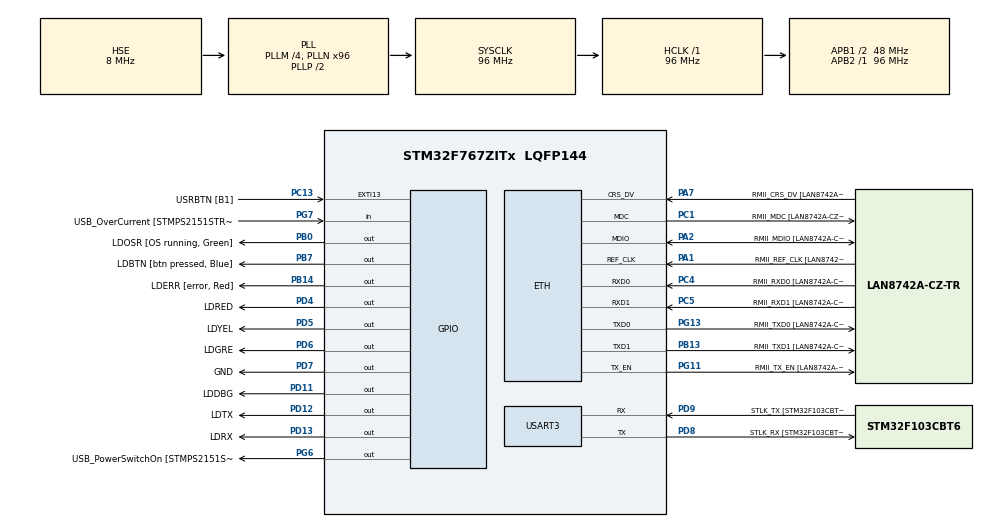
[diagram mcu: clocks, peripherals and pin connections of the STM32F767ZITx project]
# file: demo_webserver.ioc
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ETH.MediaInterface=ETH_MEDIA_INTERFACE_RMII
ETH.PHY_Name=LAN8742A_PHY_ADDRESS
ETH.PHY_Value=0
ETH.PhyAddress=0
FREERTOS.Tasks01=defaultTask,0,128,StartDefaultTask,Default,NULL
LWIP.Version=v2.0.3_Cube
Mcu.Family=STM32F7
Mcu.Name=STM32F767ZITx
Mcu.Package=LQFP144
NVIC.ETH_IRQn=true\:5\:0\:false\:false\:true\:true\:false
NVIC.EXTI15_10_IRQn=true\:5\:0\:false\:false\:true\:true\:true
NVIC.PriorityGroup=NVIC_PRIORITYGROUP_4
NVIC.TIM1_UP_TIM10_IRQn=true\:0\:0\:false\:false\:true\:false\:false
NVIC.TimeBase=TIM1_UP_TIM10_IRQn
NVIC.TimeBaseIP=TIM1
NVIC.USART3_IRQn=true\:5\:0\:false\:false\:true\:true\:true
PA1.GPIO_Label=RMII_REF_CLK [LAN8742A-CZ-TR_REFCLK0]
PA1.Mode=RMII
PA1.Signal=ETH_REF_CLK
PA10.GPIO_Label=USB_ID
PA10.Signal=USB_OTG_FS_ID
PA11.GPIO_Label=USB_DM
PA11.Signal=USB_OTG_FS_DM
PA12.GPIO_Label=USB_DP
PA12.Signal=USB_OTG_FS_DP
PA13.GPIO_Label=TMS
PA13.Mode=Serial_Wire
PA13.Signal=SYS_JTMS-SWDIO
PA14.GPIO_Label=TCK
PA14.Mode=Serial_Wire
PA14.Signal=SYS_JTCK-SWCLK
PA2.GPIO_Label=RMII_MDIO [LAN8742A-CZ-TR_MDIO]
PA2.Mode=RMII
PA2.Signal=ETH_MDIO
PA7.GPIO_Label=RMII_CRS_DV [LAN8742A-CZ-TR_CRS_DV]
PA7.Mode=RMII
PA7.Signal=ETH_CRS_DV
PA8.GPIO_Label=USB_SOF [TP1]
PA8.Signal=USB_OTG_FS_SOF
PA9.GPIO_Label=USB_VBUS
PA9.Signal=USB_OTG_FS_VBUS
PB0.GPIO_Label=LDOSR [OS running, Green]
PB0.Signal=GPIO_Output
PB13.GPIO_Label=RMII_TXD1 [LAN8742A-CZ-TR_TXD1]
PB13.Mode=RMII
PB13.Signal=ETH_TXD1
PB14.GPIO_Label=LDERR [error, Red]
PB14.Signal=GPIO_Output
PB3.GPIO_Label=SWO
PB3.Signal=SYS_JTDO-SWO
PB7.GPIO_Label=LDBTN [btn pressed, Blue]
PB7.Signal=GPIO_Output
PC1.GPIO_Label=RMII_MDC [LAN8742A-CZ-TR_MDC]
PC1.Mode=RMII
PC1.Signal=ETH_MDC
PC13.GPIO_Label=USRBTN [B1]
PC13.Signal=GPXTI13
PC14/OSC32_IN.Mode=LSE-External-Oscillator
PC14/OSC32_IN.Signal=RCC_OSC32_IN
PC15/OSC32_OUT.Mode=LSE-External-Oscillator
PC15/OSC32_OUT.Signal=RCC_OSC32_OUT
PC4.GPIO_Label=RMII_RXD0 [LAN8742A-CZ-TR_RXD0]
PC4.Mode=RMII
PC4.Signal=ETH_RXD0
PC5.GPIO_Label=RMII_RXD1 [LAN8742A-CZ-TR_RXD1]
PC5.Mode=RMII
PC5.Signal=ETH_RXD1
PD11.GPIO_Label=LDDBG
PD11.PinState=GPIO_PIN_SET
PD11.Signal=GPIO_Output
PD12.GPIO_Label=LDTX
PD12.Signal=GPIO_Output
PD13.GPIO_Label=LDRX
PD13.PinState=GPIO_PIN_RESET
PD13.Signal=GPIO_Output
PD4.GPIO_Label=LDRED
PD4.PinState=GPIO_PIN_SET
PD4.Signal=GPIO_Output
PD5.GPIO_Label=LDYEL
PD5.PinState=GPIO_PIN_SET
PD5.Signal=GPIO_Output
PD6.GPIO_Label=LDGRE
PD6.PinState=GPIO_PIN_SET
PD6.Signal=GPIO_Output
PD7.GPIO_Label=GND
PD7.Signal=GPIO_Output
PD8.GPIO_Label=STLK_RX [STM32F103CBT6_PA3]
PD8.Mode=Asynchronous
PD8.Signal=USART3_TX
PD9.GPIO_Label=STLK_TX [STM32F103CBT6_PA2]
PD9.Mode=Asynchronous
PD9.Signal=USART3_RX
PG11.GPIO_Label=RMII_TX_EN [LAN8742A-CZ-TR_TXEN]
PG11.Mode=RMII
PG11.Signal=ETH_TX_EN
PG13.GPIO_Label=RMII_TXD0 [LAN8742A-CZ-TR_TXD0]
PG13.Mode=RMII
PG13.Signal=ETH_TXD0
PG6.GPIO_Label=USB_PowerSwitchOn [STMPS2151STR_EN]
PG6.Signal=GPIO_Output
PG7.GPIO_Label=USB_OverCurrent [STMPS2151STR_FAULT]
PG7.Signal=GPIO_Input
PH0/OSC_IN.GPIO_Label=MCO [STM32F103CBT6_PA8]
PH0/OSC_IN.Mode=HSE-External-Clock-Source
PH0/OSC_IN.Signal=RCC_OSC_IN
PH1/OSC_OUT.Mode=HSE-External-Clock-Source
PH1/OSC_OUT.Signal=RCC_OSC_OUT
ProjectManager.HeapSize=0x200
ProjectManager.StackSize=0x400
ProjectManager.TargetToolchain=TrueSTUDIO
RCC.48MHZClocksFreq_Value=24000000
RCC.AHBFreq_Value=96000000
RCC.APB1CLKDivider=RCC_HCLK_DIV2
RCC.APB1Freq_Value=48000000
RCC.APB1TimFreq_Value=96000000
RCC.APB2Freq_Value=96000000
RCC.APB2TimFreq_Value=96000000
RCC.CortexFreq_Value=96000000
RCC.HCLKFreq_Value=96000000
RCC.HSE_VALUE=8000000
RCC.HSI_VALUE=16000000
RCC.PLLM=4
RCC.PLLMUL=RCC_PLL_MUL9
RCC.PLLN=96
RCC.PLLQ=4
RCC.PLLSourceVirtual=RCC_PLLSOURCE_HSE
RCC.PRESCALERUSB=RCC_USBCLKSOURCE_PLL_DIV1_5
RCC.SYSCLKFreq_VALUE=96000000
RCC.SYSCLKSource=RCC_SYSCLKSOURCE_PLLCLK
RCC.SYSCLKSourceVirtual=RCC_SYSCLKSOURCE_PLLCLK
RCC.USBFreq_Value=48000000
RCC.VCOOutputFreq_Value=192000000
USART3.VirtualMode-Asynchronous=VM_ASYNC
VP_FREERTOS_VS_ENABLE.Mode=Enabled
VP_LWIP_VS_Enabled.Mode=Enabled
VP_SYS_VS_tim1.Mode=TIM1
board=NUCLEO-F767ZI

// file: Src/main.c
/* USER CODE BEGIN Header */
/**
  ******************************************************************************
  * @file           : main.c
  * @brief          : Main program body
  ******************************************************************************
  * This notice applies to any and all portions of this file
  * that are not between comment pairs USER CODE BEGIN and
  * USER CODE END. Other portions of this file, whether
  * inserted by the user or by software development tools
  * are owned by their respective copyright owners.
  *
  * Copyright (c) 2019 STMicroelectronics International N.V.
  * All rights reserved.
  *
  * Redistribution and use in source and binary forms, with or without
  * modification, are permitted, provided that the following conditions are met:
  *
  * 1. Redistribution of source code must retain the above copyright notice,
  *    this list of conditions and the following disclaimer.
  * 2. Redistributions in binary form must reproduce the above copyright notice,
  *    this list of conditions and the following disclaimer in the documentation
  *    and/or other materials provided with the distribution.
  * 3. Neither the name of STMicroelectronics nor the names of other
  *    contributors to this software may be used to endorse or promote products
  *    derived from this software without specific written permission.
  * 4. This software, including modifications and/or derivative works of this
  *    software, must execute solely and exclusively on microcontroller or
  *    microprocessor devices manufactured by or for STMicroelectronics.
  * 5. Redistribution and use of this software other than as permitted under
  *    this license is void and will automatically terminate your rights under
  *    this license.
  *
  * THIS SOFTWARE IS PROVIDED BY STMICROELECTRONICS AND CONTRIBUTORS "AS IS"
  * AND ANY EXPRESS, IMPLIED OR STATUTORY WARRANTIES, INCLUDING, BUT NOT
  * LIMITED TO, THE IMPLIED WARRANTIES OF MERCHANTABILITY, FITNESS FOR A
  * PARTICULAR PURPOSE AND NON-INFRINGEMENT OF THIRD PARTY INTELLECTUAL PROPERTY
  * RIGHTS ARE DISCLAIMED TO THE FULLEST EXTENT PERMITTED BY LAW. IN NO EVENT
  * SHALL STMICROELECTRONICS OR CONTRIBUTORS BE LIABLE FOR ANY DIRECT, INDIRECT,
  * INCIDENTAL, SPECIAL, EXEMPLARY, OR CONSEQUENTIAL DAMAGES (INCLUDING, BUT NOT
  * LIMITED TO, PROCUREMENT OF SUBSTITUTE GOODS OR SERVICES; LOSS OF USE, DATA,
  * OR PROFITS; OR BUSINESS INTERRUPTION) HOWEVER CAUSED AND ON ANY THEORY OF
  * LIABILITY, WHETHER IN CONTRACT, STRICT LIABILITY, OR TORT (INCLUDING
  * NEGLIGENCE OR OTHERWISE) ARISING IN ANY WAY OUT OF THE USE OF THIS SOFTWARE,
  * EVEN IF ADVISED OF THE POSSIBILITY OF SUCH DAMAGE.
  *
  ******************************************************************************
  */
/* USER CODE END Header */

#include "main.h"
#include "cmsis_os.h"
#include "lwip.h"

osThreadId defaultTaskHandle;
/* USER CODE BEGIN PV */

#ifdef UART_H_
extern SemaphoreHandle_t mutexSerialCom;
extern SemaphoreHandle_t mutexUART3;
extern QueueHandle_t queueRxST, queueTxST;
extern UART_HandleTypeDef huart3;
#endif

/* USER CODE END PV */

void SystemClock_Config(void);
static void MX_GPIO_Init(void);
static void MX_USART3_UART_Init(void);
void StartDefaultTask(void const * argument);

/* USER CODE BEGIN PFP */
void startupTask();
void buttonTask();
void throwError();

/* USER CODE END PFP */

int main(void)
{

  /* MCU Configuration--------------------------------------------------------*/

  /* Reset of all peripherals, Initializes the Flash interface and the Systick. */
  HAL_Init();

  /* Configure the system clock */
  SystemClock_Config();

  /* Initialize all configured peripherals */
  MX_GPIO_Init();
  MX_USART3_UART_Init();

  /* Create the thread(s) */
  /* definition and creation of defaultTask */
  osThreadDef(defaultTask, StartDefaultTask, osPriorityNormal, 0, 128);
  defaultTaskHandle = osThreadCreate(osThread(defaultTask), NULL);

  /* USER CODE BEGIN RTOS_THREADS */
  xTaskCreate(startupTask, "startup", 50, NULL, 25, NULL);
  /* USER CODE END RTOS_THREADS */

  /* Start scheduler */
  osKernelStart();

  /* We should never get here as control is now taken by the scheduler */

  /* Infinite loop */
  while (1)
  {

  }
}

void SystemClock_Config(void)
{
  RCC_OscInitTypeDef RCC_OscInitStruct = {0};
  RCC_ClkInitTypeDef RCC_ClkInitStruct = {0};
  RCC_PeriphCLKInitTypeDef PeriphClkInitStruct = {0};

  /**Configure LSE Drive Capability
  */
  HAL_PWR_EnableBkUpAccess();
  /**Configure the main internal regulator output voltage
  */
  __HAL_RCC_PWR_CLK_ENABLE();
  __HAL_PWR_VOLTAGESCALING_CONFIG(PWR_REGULATOR_VOLTAGE_SCALE3);
  /**Initializes the CPU, AHB and APB busses clocks
  */
  RCC_OscInitStruct.OscillatorType = RCC_OSCILLATORTYPE_HSE;
  RCC_OscInitStruct.HSEState = RCC_HSE_BYPASS;
  RCC_OscInitStruct.PLL.PLLState = RCC_PLL_ON;
  RCC_OscInitStruct.PLL.PLLSource = RCC_PLLSOURCE_HSE;
  RCC_OscInitStruct.PLL.PLLM = 4;
  RCC_OscInitStruct.PLL.PLLN = 96;
  RCC_OscInitStruct.PLL.PLLP = RCC_PLLP_DIV2;
  RCC_OscInitStruct.PLL.PLLQ = 4;
  if (HAL_RCC_OscConfig(&RCC_OscInitStruct) != HAL_OK)
  {
    Error_Handler();
  }
  /**Activate the Over-Drive mode
  */
  if (HAL_PWREx_EnableOverDrive() != HAL_OK)
  {
    Error_Handler();
  }
  /**Initializes the CPU, AHB and APB busses clocks
  */
  RCC_ClkInitStruct.ClockType = RCC_CLOCKTYPE_HCLK|RCC_CLOCKTYPE_SYSCLK
                              |RCC_CLOCKTYPE_PCLK1|RCC_CLOCKTYPE_PCLK2;
  RCC_ClkInitStruct.SYSCLKSource = RCC_SYSCLKSOURCE_PLLCLK;
  RCC_ClkInitStruct.AHBCLKDivider = RCC_SYSCLK_DIV1;
  RCC_ClkInitStruct.APB1CLKDivider = RCC_HCLK_DIV2;
  RCC_ClkInitStruct.APB2CLKDivider = RCC_HCLK_DIV1;

  if (HAL_RCC_ClockConfig(&RCC_ClkInitStruct, FLASH_LATENCY_3) != HAL_OK)
  {
    Error_Handler();
  }
  PeriphClkInitStruct.PeriphClockSelection = RCC_PERIPHCLK_USART3;
  PeriphClkInitStruct.Usart3ClockSelection = RCC_USART3CLKSOURCE_PCLK1;
  if (HAL_RCCEx_PeriphCLKConfig(&PeriphClkInitStruct) != HAL_OK)
  {
    Error_Handler();
  }
}

static void MX_USART3_UART_Init(void)
{

  huart3.Instance = USART3;
  huart3.Init.BaudRate = 115200;
  huart3.Init.WordLength = UART_WORDLENGTH_8B;
  huart3.Init.StopBits = UART_STOPBITS_1;
  huart3.Init.Parity = UART_PARITY_NONE;
  huart3.Init.Mode = UART_MODE_TX_RX;
  huart3.Init.HwFlowCtl = UART_HWCONTROL_NONE;
  huart3.Init.OverSampling = UART_OVERSAMPLING_16;
  huart3.Init.OneBitSampling = UART_ONE_BIT_SAMPLE_DISABLE;
  huart3.AdvancedInit.AdvFeatureInit = UART_ADVFEATURE_NO_INIT;
  if (HAL_UART_Init(&huart3) != HAL_OK)
  {
    Error_Handler();
  }

}

static void MX_GPIO_Init(void)
{
  GPIO_InitTypeDef GPIO_InitStruct = {0};

  /* GPIO Ports Clock Enable */
  __HAL_RCC_GPIOC_CLK_ENABLE();
  __HAL_RCC_GPIOH_CLK_ENABLE();
  __HAL_RCC_GPIOA_CLK_ENABLE();
  __HAL_RCC_GPIOB_CLK_ENABLE();
  __HAL_RCC_GPIOD_CLK_ENABLE();
  __HAL_RCC_GPIOG_CLK_ENABLE();

  /*Configure GPIO pin Output Level */
  HAL_GPIO_WritePin(GPIOB, LDOSR_Pin|LDERR_Pin|LDBTN_Pin, GPIO_PIN_RESET);

  /*Configure GPIO pin Output Level */
  HAL_GPIO_WritePin(GPIOD, LDDBG_Pin|LDRED_Pin|LDYEL_Pin|LDGRE_Pin, GPIO_PIN_SET);

  /*Configure GPIO pin Output Level */
  HAL_GPIO_WritePin(GPIOD, LDTX_Pin|LDRX_Pin|GND_Pin, GPIO_PIN_RESET);

  /*Configure GPIO pin Output Level */
  HAL_GPIO_WritePin(USB_PowerSwitchOn_GPIO_Port, USB_PowerSwitchOn_Pin, GPIO_PIN_RESET);

  /*Configure GPIO pin : USRBTN_Pin */
  GPIO_InitStruct.Pin = USRBTN_Pin;
  GPIO_InitStruct.Mode = GPIO_MODE_IT_RISING;
  GPIO_InitStruct.Pull = GPIO_NOPULL;
  HAL_GPIO_Init(USRBTN_GPIO_Port, &GPIO_InitStruct);

  /*Configure GPIO pins : LDOSR_Pin LDERR_Pin LDBTN_Pin */
  GPIO_InitStruct.Pin = LDOSR_Pin|LDERR_Pin|LDBTN_Pin;
  GPIO_InitStruct.Mode = GPIO_MODE_OUTPUT_PP;
  GPIO_InitStruct.Pull = GPIO_NOPULL;
  GPIO_InitStruct.Speed = GPIO_SPEED_FREQ_LOW;
  HAL_GPIO_Init(GPIOB, &GPIO_InitStruct);

  /*Configure GPIO pins : LDDBG_Pin LDTX_Pin LDRX_Pin LDRED_Pin
                           LDYEL_Pin LDGRE_Pin GND_Pin */
  GPIO_InitStruct.Pin = LDDBG_Pin|LDTX_Pin|LDRX_Pin|LDRED_Pin
                          |LDYEL_Pin|LDGRE_Pin|GND_Pin;
  GPIO_InitStruct.Mode = GPIO_MODE_OUTPUT_PP;
  GPIO_InitStruct.Pull = GPIO_NOPULL;
  GPIO_InitStruct.Speed = GPIO_SPEED_FREQ_LOW;
  HAL_GPIO_Init(GPIOD, &GPIO_InitStruct);

  /*Configure GPIO pin : USB_PowerSwitchOn_Pin */
  GPIO_InitStruct.Pin = USB_PowerSwitchOn_Pin;
  GPIO_InitStruct.Mode = GPIO_MODE_OUTPUT_PP;
  GPIO_InitStruct.Pull = GPIO_NOPULL;
  GPIO_InitStruct.Speed = GPIO_SPEED_FREQ_LOW;
  HAL_GPIO_Init(USB_PowerSwitchOn_GPIO_Port, &GPIO_InitStruct);

  /*Configure GPIO pin : USB_OverCurrent_Pin */
  GPIO_InitStruct.Pin = USB_OverCurrent_Pin;
  GPIO_InitStruct.Mode = GPIO_MODE_INPUT;
  GPIO_InitStruct.Pull = GPIO_NOPULL;
  HAL_GPIO_Init(USB_OverCurrent_GPIO_Port, &GPIO_InitStruct);

  /*Configure GPIO pins : USB_SOF_Pin USB_ID_Pin USB_DM_Pin USB_DP_Pin */
  GPIO_InitStruct.Pin = USB_SOF_Pin|USB_ID_Pin|USB_DM_Pin|USB_DP_Pin;
  GPIO_InitStruct.Mode = GPIO_MODE_AF_PP;
  GPIO_InitStruct.Pull = GPIO_NOPULL;
  GPIO_InitStruct.Speed = GPIO_SPEED_FREQ_VERY_HIGH;
  GPIO_InitStruct.Alternate = GPIO_AF10_OTG_FS;
  HAL_GPIO_Init(GPIOA, &GPIO_InitStruct);

  /*Configure GPIO pin : USB_VBUS_Pin */
  GPIO_InitStruct.Pin = USB_VBUS_Pin;
  GPIO_InitStruct.Mode = GPIO_MODE_INPUT;
  GPIO_InitStruct.Pull = GPIO_NOPULL;
  HAL_GPIO_Init(USB_VBUS_GPIO_Port, &GPIO_InitStruct);

  /* EXTI interrupt init*/
  HAL_NVIC_SetPriority(EXTI15_10_IRQn, 5, 0);
  HAL_NVIC_EnableIRQ(EXTI15_10_IRQn);

}

/* USER CODE BEGIN 4 */

void startupTask() {
	HAL_GPIO_WritePin(LDOSR_GPIO_Port, LDOSR_Pin, GPIO_PIN_SET);
	xTaskCreate(uartTask, "rxtxST", 100, NULL, 10, NULL);
	//xTaskCreate(buttonTask, "button", 10, NULL, 10, NULL);
	xTaskCreate(commandParserTask, "commandParser", 100+ARG_SIZE*ARG_COUNT+CMD_SIZE, NULL, 10, NULL);
	uartInit();
	stprint("\r\033c");
	stprint("\n\rRTOS :: booted\n\n");
	MX_LWIP_Init();
        stprint("LWIP :: initialized\n");
	http_server_netconn_init();
        stprint("HTTP :: initialized\n");
	vTaskDelete(NULL);
}

void buttonTask() {
	while(1) {
		HAL_GPIO_WritePin(LDBTN_GPIO_Port, LDBTN_Pin, HAL_GPIO_ReadPin(USRBTN_GPIO_Port, USRBTN_Pin));
	}
	vTaskDelete(NULL);
}

void throwError(char* msg) {
	HAL_GPIO_WritePin(LDERR_GPIO_Port, LDERR_Pin, GPIO_PIN_SET);
#ifdef UART_H_
	stprint("%s", msg);
#endif
}

/* USER CODE END 4 */

void StartDefaultTask(void const * argument)
{
  /* init code for LWIP */

  for(;;)
  {
    osDelay(1);
  }
}

void HAL_TIM_PeriodElapsedCallback(TIM_HandleTypeDef *htim)
{
  if (htim->Instance == TIM1) {
    HAL_IncTick();
  }
}

void Error_Handler(void)
{
  /* USER CODE BEGIN Error_Handler_Debug */
  /* User can add his own implementation to report the HAL error return state */
	//if(HAL_UART_GetState(&ST_USART) != HAL_OK)
	//	throwError("");
  /* USER CODE END Error_Handler_Debug */
}

/************************ (C) COPYRIGHT STMicroelectronics *****END OF FILE****/
